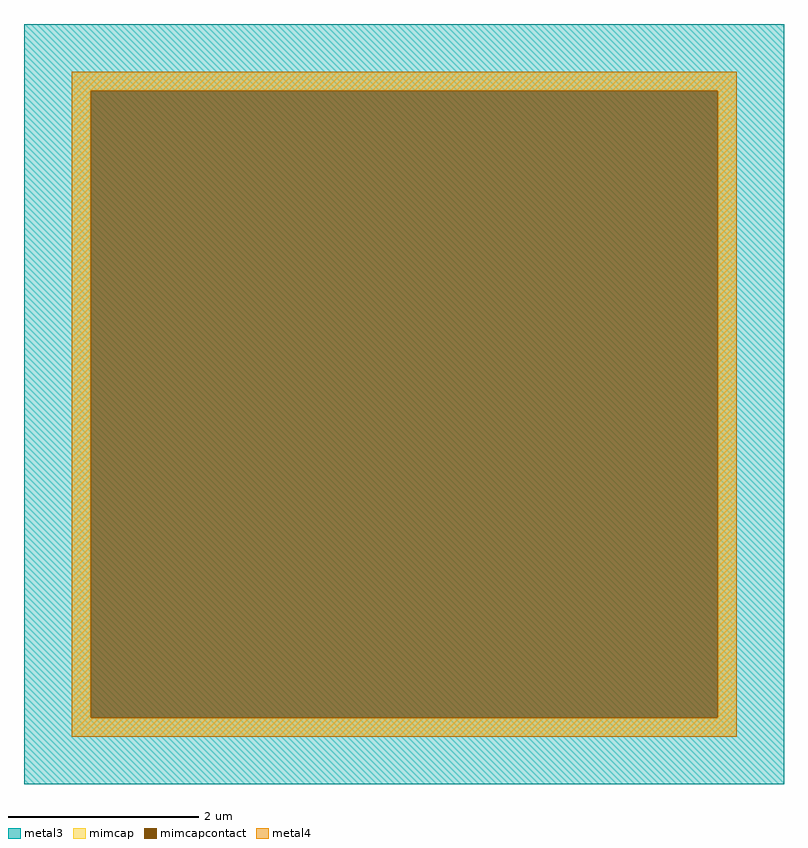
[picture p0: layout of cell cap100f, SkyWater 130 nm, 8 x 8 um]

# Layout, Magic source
magic
tech sky130A
<< metal3 >>
rect -425 -400 375 400
<< mimcap >>
rect -375 330 325 350
rect -375 -330 -355 330
rect 305 -330 325 330
rect -375 -350 325 -330
<< mimcapcontact >>
rect -355 -330 305 330
<< metal4 >>
rect -375 330 325 350
rect -375 -330 -355 330
rect 305 -330 325 330
rect -375 -350 325 -330
<< properties >>
string FIXED_BBOX -425 -400 375 400
string gencell sky130_fd_pr__cap_mim_m3_1
string library sky130
string parameters w 7 l 7 val 103.32 carea 2.00 cperi 0.19 nx 1 ny 1 dummy 0 square 0 lmin 2.00 wmin 2.00 lmax 30.0 wmax 30.0 dc 0 bconnect 1 tconnect 1 ccov 100
<< end >>
